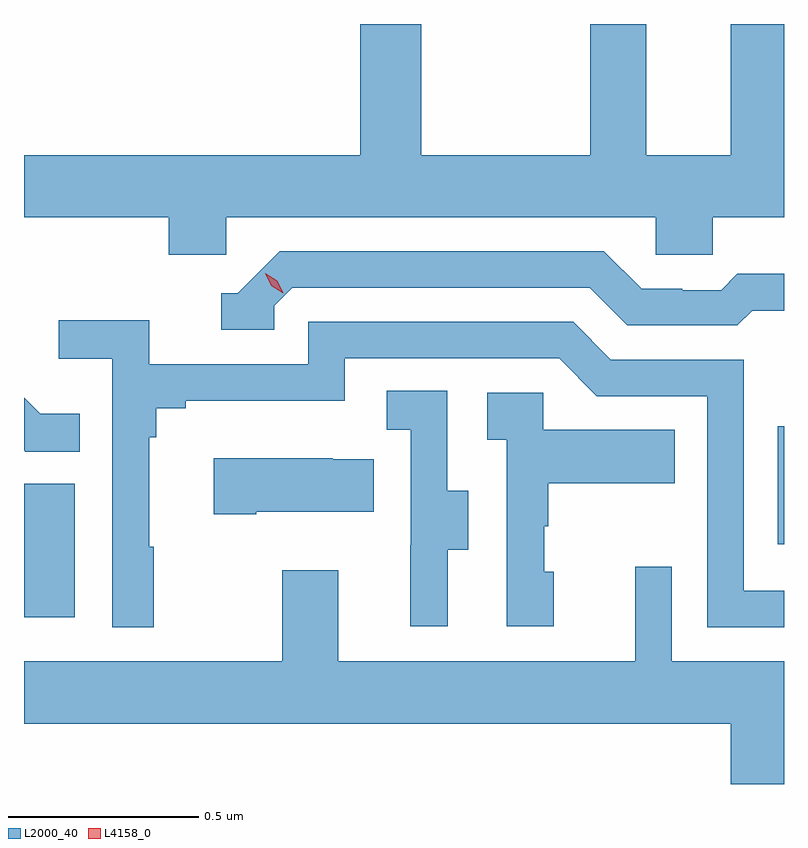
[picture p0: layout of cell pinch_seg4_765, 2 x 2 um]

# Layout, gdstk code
import gdstk
lib = gdstk.Library(unit=1e-6, precision=1e-09)
def R(c, l, rs):  # rectangles x0, y0, x1, y1
    for r in rs: c.add(gdstk.rectangle(r[:2], r[2:], *l))
def P(c, l, *ps):  # polygons
    for p in ps: c.add(gdstk.Polygon(p, *l))
L2000_40 = (2000, 40)
L4158_0 = (4158, 0)

pinch_seg4_765 = lib.new_cell('pinch_seg4_765')
R(pinch_seg4_765, L2000_40, [(882.428,814.416,882.562,814.767), (884.412,814.608,884.428,814.918)])
P(pinch_seg4_765, L2000_40, [(882.96,815.468),(884.091,815.468),(884.091,815.37),(884.241,815.37),(884.241,815.468),(884.428,815.468),(884.428,815.977),(884.288,815.977),(884.288,815.632),(884.065,815.632),(884.065,815.977),(883.918,815.977),(883.918,815.632),(883.473,815.632),(883.473,815.977),(883.313,815.977),(883.313,815.632),(882.428,815.632),(882.428,815.468),(882.809,815.468),(882.809,815.37),(882.96,815.37)],
  [(883.086,815.235),(883.134,815.283),(883.917,815.283),(884.016,815.184),(884.305,815.184),(884.344,815.223),(884.428,815.223),(884.428,815.32),(884.305,815.32),(884.263,815.277),(884.16,815.277),(884.16,815.28),(884.053,815.28),(883.954,815.379),(883.101,815.379),(882.99,815.268),(882.947,815.268),(882.947,815.172),(883.086,815.172)],
  [(882.769,814.601),(882.757,814.601),(882.757,814.889),(882.776,814.889),(882.776,814.966),(882.853,814.966),(882.853,814.985),(883.272,814.985),(883.272,815.097),(883.836,815.097),(883.935,814.998),(884.226,814.998),(884.226,814.389),(884.428,814.389),(884.428,814.485),(884.322,814.485),(884.322,815.094),(883.972,815.094),(883.873,815.193),(883.176,815.193),(883.176,815.082),(882.758,815.082),(882.758,815.198),(882.519,815.198),(882.519,815.096),(882.66,815.096),(882.66,814.389),(882.769,814.389)],
  [(883.543,814.594),(883.597,814.594),(883.597,814.749),(883.542,814.749),(883.542,815.012),(883.383,815.012),(883.383,814.909),(883.446,814.909),(883.446,814.605),(883.445,814.605),(883.445,814.392),(883.543,814.392)],
  [(883.822,814.536),(883.797,814.536),(883.797,814.655),(883.807,814.655),(883.807,814.769),(884.141,814.769),(884.141,814.909),(883.794,814.909),(883.794,815.007),(883.647,815.007),(883.647,814.883),(883.698,814.883),(883.698,814.392),(883.822,814.392)],
  [(882.575,814.951),(882.471,814.951),(882.428,814.994),(882.428,814.855),(882.431,814.852),(882.575,814.852)],
  [(883.039,814.694),(883.349,814.694),(883.349,814.831),(883.241,814.831),(883.241,814.834),(882.927,814.834),(882.927,814.687),(883.039,814.687)],
  [(884.428,814.3),(884.133,814.3),(884.133,814.549),(884.036,814.549),(884.036,814.3),(883.255,814.3),(883.255,814.54),(883.108,814.54),(883.108,814.3),(882.428,814.3),(882.428,814.136),(884.288,814.136),(884.288,813.977),(884.428,813.977)])
P(pinch_seg4_765, L4158_0, [(883.11,815.269),(883.079,815.288),(883.063,815.321),(883.063,815.321),(883.063,815.321),(883.094,815.302),(883.11,815.269),(883.11,815.269)])

lib.write_gds('pinch_seg4_765.gds')
